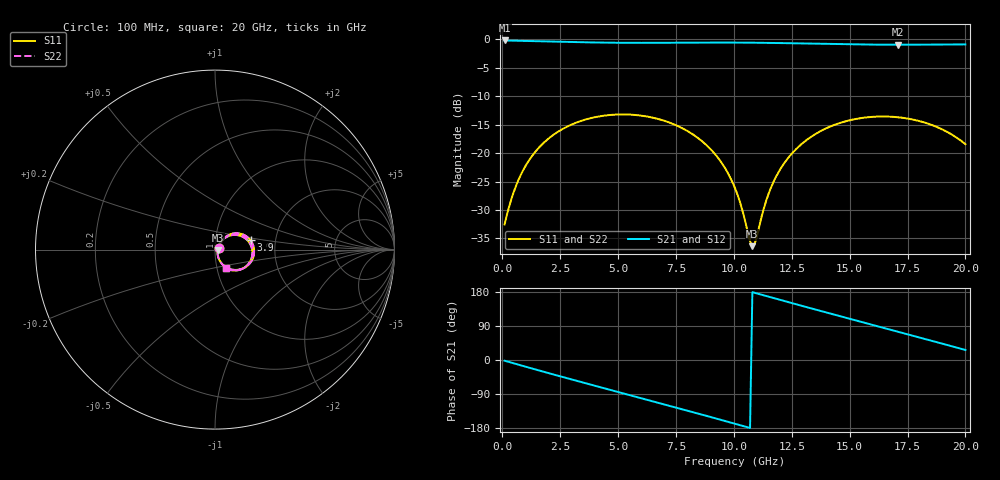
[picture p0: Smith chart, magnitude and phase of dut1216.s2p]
! Touchstone file exported from HFSS 2026.1.0
!  File:  C:/ffzhzh/LocalFiles/Ansys_Project_Files/temp_train_TSV_RDL_1216_1783320402_38704.aedt
!  Generated:  02:58:13 PM Jul  6, 2026
!  Design:  TSV_RDL
!  Project:  temp_train_TSV_RDL_1216_1783320402_38704
! Variables:
!  h_bsmrdl = 2.81um
!  h_ox = 20um
!  h_rdl = 5um
!  h_sub = 99.93um
!  h_tmrdl = 5.8um
!  h_tsv = 99.93um
!  h_via = 3um
!  l_bsmrdl = 326.05um
!  l_sub = 5203.25um
!  l_tmrdl = 927.55um
!  m_sub = 200um
!  pitch = 38.21um
!  r_tsv = 13.71um
!  s_tmrdl = 10um
!  w_bsmrdl = 10.43um
!  w_sub = 500um
!  w_tmrdl = 27.87um
!  x_tsv_center1 = 941.485um
!  x_tsv_center2 = 1277.965um
!  x_tsv_center3 = 2233.385um
!  x_tsv_center4 = 2569.865um
!  x_tsv_center5 = 3525.285um
!  x_tsv_center6 = 3861.765um
# GHz S MA R 50.000000
! Terminal data exported
! Port[1] = TM_RDL1_1_T1
! Port[2] = TM_RDL5_1_T1
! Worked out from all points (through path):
!   200 points, 100 MHz to 20 GHz, reference 50 ohm
!   highest |S21| = -0.19 dB at 100 MHz (marker M1); lowest = -0.9 dB at 17.1 GHz (marker M2)
!   group delay of S21, straight-line fit = 46.2 ps
!   lowest |S11| = -36.4 dB at 10.8 GHz (marker M3), VSWR 1.03, Z = 51.5 - j0.31 ohm
!   |S11| at or under -10 dB: start of sweep to end of sweep
!   |S22| runs from -36.6 to -13.2 dB; largest |S21 - S12| = 5e-14
!   S11 on the Smith chart (normalised r, x): 100 MHz: 1.04, +0.02; 3.9 GHz: 1.48, +0.16; 20 GHz: 1.11, -0.23
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0.1  0.02359 21.4  0.9783 -1.9  0.9783 -1.9  0.02359 21.4
! Gamma 0 0 0 0
! Port Impedance 50 0 50 0
0.6  0.05197 49.4  0.973 -10.7  0.973 -10.7  0.05197 49.4
1.3  0.09515 49.5  0.9664 -22.8  0.9664 -22.8  0.09515 49.5
2.3  0.1492 37.8  0.9553 -39.7  0.9553 -39.7  0.1492 37.7
3.5  0.1947 20.5  0.9429 -59.7  0.9429 -59.7  0.1947 20.5
3.9  0.2047 14.6  0.9396 -66.3  0.9396 -66.3  0.2047 14.5
5.4  0.2184 -7.8  0.9326 -90.8  0.9326 -90.8  0.2185 -7.9
6.8  0.1977 -28.8  0.9328 -113.7  0.9328 -113.7  0.1978 -28.9
8.8  0.1184 -57.4  0.9374 -147.1  0.9374 -147.1  0.1185 -57.5
9.5  0.08058 -65.1  0.9379 -158.9  0.9379 -158.9  0.08063 -65.4
10.1  0.04633 -66.6  0.9373 -169.1  0.9373 -169.1  0.04632 -67.1
10.8  0.01519 -11.4  0.9351 179.0  0.9351 179.0  0.01481 -12.0
10.9  0.01592 9.4  0.9346 177.3  0.9346 177.3  0.01552 9.4
11.5  0.04385 51.5  0.9313 167.1  0.9313 167.1  0.0436 51.9
11.9  0.06626 52.0  0.9286 160.3  0.9286 160.3  0.06606 52.3
12.6  0.1039 45.7  0.923 148.6  0.923 148.6  0.1037 45.8
13.4  0.1418 35.3  0.9161 135.2  0.9161 135.2  0.1417 35.4
15.1  0.1964 10.7  0.9033 107.2  0.9033 107.2  0.1963 10.8
16.7  0.2093 -12.9  0.8977 81.1  0.8977 81.1  0.2093 -12.9
17.1  0.2065 -18.8  0.8974 74.6  0.8974 74.6  0.2064 -18.8
18.5  0.1781 -39.1  0.8994 51.5  0.8994 51.5  0.1781 -39.1
20  0.1198 -59.1  0.9033 26.4  0.9033 26.4  0.1198 -59.0
